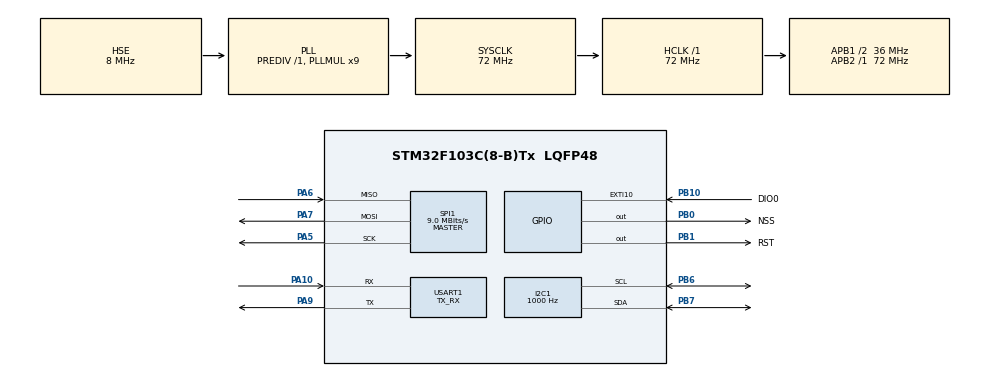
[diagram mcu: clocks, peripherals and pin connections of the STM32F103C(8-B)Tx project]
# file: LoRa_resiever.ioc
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I2C1.ClockSpeed=1000
Mcu.Family=STM32F1
Mcu.Name=STM32F103C(8-B)Tx
Mcu.Package=LQFP48
NVIC.EXTI15_10_IRQn=true\:0\:0\:false\:false\:true\:true\:true\:true
NVIC.I2C1_ER_IRQn=true\:0\:0\:false\:false\:true\:true\:true\:true
NVIC.I2C1_EV_IRQn=true\:0\:0\:false\:false\:true\:true\:true\:true
NVIC.PriorityGroup=NVIC_PRIORITYGROUP_4
NVIC.USART1_IRQn=true\:0\:0\:false\:false\:true\:true\:true\:true
PA10.Mode=Asynchronous
PA10.Signal=USART1_RX
PA13.Mode=Serial_Wire
PA13.Signal=SYS_JTMS-SWDIO
PA14.Mode=Serial_Wire
PA14.Signal=SYS_JTCK-SWCLK
PA5.Mode=Full_Duplex_Master
PA5.Signal=SPI1_SCK
PA6.Mode=Full_Duplex_Master
PA6.Signal=SPI1_MISO
PA7.Mode=Full_Duplex_Master
PA7.Signal=SPI1_MOSI
PA9.Mode=Asynchronous
PA9.Signal=USART1_TX
PB0.GPIO_Label=NSS
PB0.PinState=GPIO_PIN_SET
PB0.Signal=GPIO_Output
PB1.GPIO_Label=RST
PB1.PinState=GPIO_PIN_SET
PB1.Signal=GPIO_Output
PB10.GPIO_Label=DIO0
PB10.Signal=GPXTI10
PB6.Mode=I2C
PB6.Signal=I2C1_SCL
PB7.Mode=I2C
PB7.Signal=I2C1_SDA
PD0-OSC_IN.Mode=HSE-External-Oscillator
PD0-OSC_IN.Signal=RCC_OSC_IN
PD1-OSC_OUT.Mode=HSE-External-Oscillator
PD1-OSC_OUT.Signal=RCC_OSC_OUT
ProjectManager.HeapSize=0x200
ProjectManager.StackSize=0x400
ProjectManager.TargetToolchain=MDK-ARM V5.32
RCC.AHBFreq_Value=72000000
RCC.APB1CLKDivider=RCC_HCLK_DIV2
RCC.APB1Freq_Value=36000000
RCC.APB1TimFreq_Value=72000000
RCC.APB2Freq_Value=72000000
RCC.APB2TimFreq_Value=72000000
RCC.HCLKFreq_Value=72000000
RCC.PLLMUL=RCC_PLL_MUL9
RCC.PLLSourceVirtual=RCC_PLLSOURCE_HSE
RCC.SYSCLKFreq_VALUE=72000000
RCC.SYSCLKSource=RCC_SYSCLKSOURCE_PLLCLK
RCC.USBFreq_Value=72000000
SPI1.BaudRatePrescaler=SPI_BAUDRATEPRESCALER_8
SPI1.CalculateBaudRate=9.0 MBits/s
SPI1.Direction=SPI_DIRECTION_2LINES
SPI1.Mode=SPI_MODE_MASTER
SPI1.VirtualType=VM_MASTER
USART1.Mode=MODE_TX_RX
USART1.VirtualMode=VM_ASYNC
board=custom

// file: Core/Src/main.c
/* USER CODE BEGIN Header */
/**
  ******************************************************************************
  * @file           : main.c
  * @brief          : Main program body
  ******************************************************************************
  * @attention
  *
  * Copyright (c) 2023 STMicroelectronics.
  * All rights reserved.
  *
  * This software is licensed under terms that can be found in the LICENSE file
  * in the root directory of this software component.
  * If no LICENSE file comes with this software, it is provided AS-IS.
  *
  ******************************************************************************
  */
/* USER CODE END Header */
#include "main.h"

/* USER CODE BEGIN Includes */
#include "LoRa.h"
/* USER CODE END Includes */

/* USER CODE BEGIN PD */
#define buf_size 10

#define LCD_ADDR (0x27 << 1)       // адрес дисплея, сдвинутый на 1 бит влево (HAL работает с I2C-адресами, сдвинутыми на 1 бит влево)
#define PIN_RS    (1 << 0)         // если на ножке 0, данные воспринимаются как команда, если 1 - как символы для вывода
#define PIN_EN    (1 << 2)         // бит, по изменению сост. которого считывается информация
#define BACKLIGHT (1 << 3)         // управление подсветкой
/* USER CODE END PD */

I2C_HandleTypeDef hi2c1;

SPI_HandleTypeDef hspi1;

UART_HandleTypeDef huart1;

/* USER CODE BEGIN PV */
LoRa myLoRa;
uint8_t LoRa_stat = 0;
uint8_t RxBuff[buf_size];
uint8_t TxBuff[buf_size];
/* USER CODE END PV */

void SystemClock_Config(void);
static void MX_GPIO_Init(void);
static void MX_SPI1_Init(void);
static void MX_USART1_UART_Init(void);
static void MX_I2C1_Init(void);
/* USER CODE BEGIN PFP */
void I2C_send(uint8_t, uint8_t);
void LCD_SendString(char*, uint8_t);
void LCD_send_num(uint8_t);
/* USER CODE END PFP */

int main(void)
{

  /* MCU Configuration--------------------------------------------------------*/

  /* Reset of all peripherals, Initializes the Flash interface and the Systick. */
  HAL_Init();

  /* Configure the system clock */
  SystemClock_Config();

  /* Initialize all configured peripherals */
  MX_GPIO_Init();
  MX_SPI1_Init();
  MX_USART1_UART_Init();
  MX_I2C1_Init();
  /* USER CODE BEGIN 2 */

	/* LoRa init */
	myLoRa = newLoRa();

	myLoRa.CS_port         = NSS_GPIO_Port;
	myLoRa.CS_pin          = NSS_Pin;
	myLoRa.reset_port      = RST_GPIO_Port;
	myLoRa.reset_pin       = RST_Pin;
	myLoRa.DIO0_port       = DIO0_GPIO_Port;
	myLoRa.DIO0_pin        = DIO0_Pin;
	myLoRa.hSPIx           = &hspi1;

	/*
	myLoRa.frequency             = 434;             // default = 433 MHz
	myLoRa.spredingFactor        = SF_9;            // default = SF_7
	myLoRa.bandWidth             = BW_250KHz;       // default = BW_125KHz
	myLoRa.crcRate               = CR_4_8;          // default = CR_4_5
	myLoRa.power                 = POWER_17db;      // default = 20db
	myLoRa.overCurrentProtection = 130;             // default = 100 mA
	myLoRa.preamble              = 10;              // default = 8;
	*/

	LoRa_stat = LoRa_init(&myLoRa);
	HAL_UART_Transmit(&huart1, &LoRa_stat, 1, 0xFFFF);

	LoRa_startReceiving(&myLoRa);

	/*
	LoRa_stat = LoRa_transmit(&myLoRa, TxBuff, 4, 500);
	HAL_UART_Transmit(&huart1, &LoRa_stat, 1, 0xFFFF);
	*/

	/* lcd init */
	I2C_send(0b00110000,0);   // 8ми битный интерфейс
	I2C_send(0b00000010,0);		// установка курсора в начале строки
  I2C_send(0b00001100,0);   // нормальный режим работы, выкл курсор
  I2C_send(0b00000001,0);   // Очистка дисплея с установкой курсора в начало первой строки

	LCD_SendString("lcd init", 8);

  /* USER CODE END 2 */

  /* Infinite loop */
  while (1)
  {

  }
}

void SystemClock_Config(void)
{
  RCC_OscInitTypeDef RCC_OscInitStruct = {0};
  RCC_ClkInitTypeDef RCC_ClkInitStruct = {0};

  /** Initializes the RCC Oscillators according to the specified parameters
  * in the RCC_OscInitTypeDef structure.
  */
  RCC_OscInitStruct.OscillatorType = RCC_OSCILLATORTYPE_HSE;
  RCC_OscInitStruct.HSEState = RCC_HSE_ON;
  RCC_OscInitStruct.HSEPredivValue = RCC_HSE_PREDIV_DIV1;
  RCC_OscInitStruct.HSIState = RCC_HSI_ON;
  RCC_OscInitStruct.PLL.PLLState = RCC_PLL_ON;
  RCC_OscInitStruct.PLL.PLLSource = RCC_PLLSOURCE_HSE;
  RCC_OscInitStruct.PLL.PLLMUL = RCC_PLL_MUL9;
  if (HAL_RCC_OscConfig(&RCC_OscInitStruct) != HAL_OK)
  {
    Error_Handler();
  }

  /** Initializes the CPU, AHB and APB buses clocks
  */
  RCC_ClkInitStruct.ClockType = RCC_CLOCKTYPE_HCLK|RCC_CLOCKTYPE_SYSCLK
                              |RCC_CLOCKTYPE_PCLK1|RCC_CLOCKTYPE_PCLK2;
  RCC_ClkInitStruct.SYSCLKSource = RCC_SYSCLKSOURCE_PLLCLK;
  RCC_ClkInitStruct.AHBCLKDivider = RCC_SYSCLK_DIV1;
  RCC_ClkInitStruct.APB1CLKDivider = RCC_HCLK_DIV2;
  RCC_ClkInitStruct.APB2CLKDivider = RCC_HCLK_DIV1;

  if (HAL_RCC_ClockConfig(&RCC_ClkInitStruct, FLASH_LATENCY_2) != HAL_OK)
  {
    Error_Handler();
  }
}

static void MX_I2C1_Init(void)
{

  hi2c1.Instance = I2C1;
  hi2c1.Init.ClockSpeed = 1000;
  hi2c1.Init.DutyCycle = I2C_DUTYCYCLE_2;
  hi2c1.Init.OwnAddress1 = 0;
  hi2c1.Init.AddressingMode = I2C_ADDRESSINGMODE_7BIT;
  hi2c1.Init.DualAddressMode = I2C_DUALADDRESS_DISABLE;
  hi2c1.Init.OwnAddress2 = 0;
  hi2c1.Init.GeneralCallMode = I2C_GENERALCALL_DISABLE;
  hi2c1.Init.NoStretchMode = I2C_NOSTRETCH_DISABLE;
  if (HAL_I2C_Init(&hi2c1) != HAL_OK)
  {
    Error_Handler();
  }

}

static void MX_SPI1_Init(void)
{

  /* SPI1 parameter configuration*/
  hspi1.Instance = SPI1;
  hspi1.Init.Mode = SPI_MODE_MASTER;
  hspi1.Init.Direction = SPI_DIRECTION_2LINES;
  hspi1.Init.DataSize = SPI_DATASIZE_8BIT;
  hspi1.Init.CLKPolarity = SPI_POLARITY_LOW;
  hspi1.Init.CLKPhase = SPI_PHASE_1EDGE;
  hspi1.Init.NSS = SPI_NSS_SOFT;
  hspi1.Init.BaudRatePrescaler = SPI_BAUDRATEPRESCALER_8;
  hspi1.Init.FirstBit = SPI_FIRSTBIT_MSB;
  hspi1.Init.TIMode = SPI_TIMODE_DISABLE;
  hspi1.Init.CRCCalculation = SPI_CRCCALCULATION_DISABLE;
  hspi1.Init.CRCPolynomial = 10;
  if (HAL_SPI_Init(&hspi1) != HAL_OK)
  {
    Error_Handler();
  }

}

static void MX_USART1_UART_Init(void)
{

  huart1.Instance = USART1;
  huart1.Init.BaudRate = 115200;
  huart1.Init.WordLength = UART_WORDLENGTH_8B;
  huart1.Init.StopBits = UART_STOPBITS_1;
  huart1.Init.Parity = UART_PARITY_NONE;
  huart1.Init.Mode = UART_MODE_TX_RX;
  huart1.Init.HwFlowCtl = UART_HWCONTROL_NONE;
  huart1.Init.OverSampling = UART_OVERSAMPLING_16;
  if (HAL_UART_Init(&huart1) != HAL_OK)
  {
    Error_Handler();
  }

}

static void MX_GPIO_Init(void)
{
  GPIO_InitTypeDef GPIO_InitStruct = {0};

  /* GPIO Ports Clock Enable */
  __HAL_RCC_GPIOD_CLK_ENABLE();
  __HAL_RCC_GPIOA_CLK_ENABLE();
  __HAL_RCC_GPIOB_CLK_ENABLE();

  /*Configure GPIO pin Output Level */
  HAL_GPIO_WritePin(GPIOB, NSS_Pin|RST_Pin, GPIO_PIN_SET);

  /*Configure GPIO pins : NSS_Pin RST_Pin */
  GPIO_InitStruct.Pin = NSS_Pin|RST_Pin;
  GPIO_InitStruct.Mode = GPIO_MODE_OUTPUT_PP;
  GPIO_InitStruct.Pull = GPIO_NOPULL;
  GPIO_InitStruct.Speed = GPIO_SPEED_FREQ_LOW;
  HAL_GPIO_Init(GPIOB, &GPIO_InitStruct);

  /*Configure GPIO pin : DIO0_Pin */
  GPIO_InitStruct.Pin = DIO0_Pin;
  GPIO_InitStruct.Mode = GPIO_MODE_IT_RISING;
  GPIO_InitStruct.Pull = GPIO_NOPULL;
  HAL_GPIO_Init(DIO0_GPIO_Port, &GPIO_InitStruct);

  /* EXTI interrupt init*/
  HAL_NVIC_SetPriority(EXTI15_10_IRQn, 0, 0);
  HAL_NVIC_EnableIRQ(EXTI15_10_IRQn);

}

/* USER CODE BEGIN 4 */

void I2C_send(uint8_t data, uint8_t flags)
{

  // операция с 1111 0000 приводит к обнулению бит с 0 по 3, остаются биты с 4 по 7
	uint8_t up = data & 0xF0;
  // то же самое, но data сдвигается на 4 бита влево
  uint8_t lo = (data << 4) & 0xF0;

	uint8_t data_arr[4];
  // 4-7 биты содержат информацию, биты 0-3 настраивают работу дисплея
	data_arr[0] = up|flags|BACKLIGHT|PIN_EN;
  // дублирование сигнала, на выводе Е в этот раз 0
	data_arr[1] = up|flags|BACKLIGHT;
	data_arr[2] = lo|flags|BACKLIGHT|PIN_EN;
	data_arr[3] = lo|flags|BACKLIGHT;

	HAL_I2C_Master_Transmit(&hi2c1, LCD_ADDR, data_arr, sizeof(data_arr), HAL_MAX_DELAY);
}

void LCD_SendString(char *str, uint8_t size)
{
	for(uint8_t i = 0; i<size; i++) {
		I2C_send((uint8_t)(*str), 1);
		str++;
	}
}

void LCD_send_num(uint8_t num) {
	uint8_t a = 0;
	uint8_t b = 0;
	uint8_t c = 0;
	char ch;

	c = num%10;
	num=num/10;

	if(num>0) {
		b = num%10;
		num=num/10;
	}

	if(num>0) {
		a = num%10;
	}

	if (a != 0) {
		ch = a + '0';
		LCD_SendString(&ch, 1);
	}

	if (a != 0 || b!=0) {
		ch = b + '0';
		LCD_SendString(&ch, 1);
	}

	ch = c + '0';
	LCD_SendString(&ch, 1);

}

void HAL_GPIO_EXTI_Callback(uint16_t GPIO_Pin)
{
	if (GPIO_Pin==DIO0_Pin) {
		uint8_t len = LoRa_receive(&myLoRa, RxBuff, buf_size);
		HAL_UART_Transmit(&huart1, RxBuff, buf_size, 0xFFFF);

		I2C_send(0b00000001,0);   // Очистка дисплея с установкой курсора в начало первой строки
		LCD_SendString("T: ", 3);
		LCD_send_num(RxBuff[0]);
		LCD_SendString(" C", 2);

		I2C_send(0b11000000,0);   // перевод строки
		LCD_SendString("H: ", 3);
		LCD_send_num(RxBuff[1]);
		LCD_SendString(" %", 2);

	}
}
/* USER CODE END 4 */

void Error_Handler(void)
{
  __disable_irq();
  while (1)
  {
  }
}
